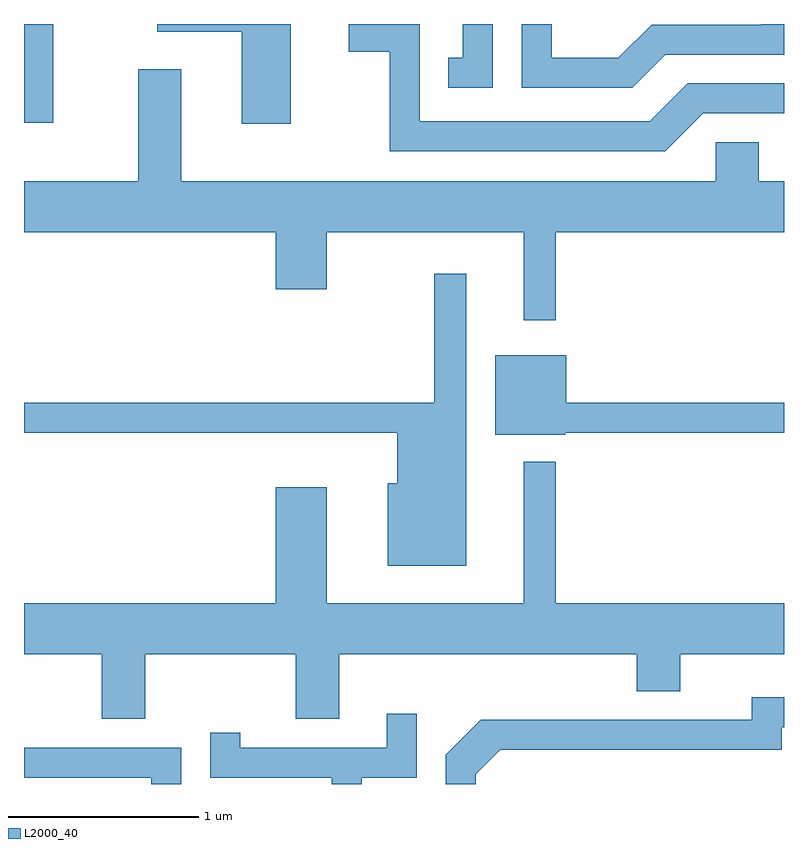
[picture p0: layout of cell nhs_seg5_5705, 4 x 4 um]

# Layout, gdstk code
import gdstk
lib = gdstk.Library(unit=1e-6, precision=1e-09)
def R(c, l, rs):  # rectangles x0, y0, x1, y1
    for r in rs: c.add(gdstk.rectangle(r[:2], r[2:], *l))
def P(c, l, *ps):  # polygons
    for p in ps: c.add(gdstk.Polygon(p, *l))
L2000_40 = (2000, 40)

nhs_seg5_5705 = lib.new_cell('nhs_seg5_5705')
R(nhs_seg5_5705, L2000_40, [(353.611,1499.553,353.764,1500.072)])
P(nhs_seg5_5705, L2000_40, [(357.187,1499.601),(357.611,1499.601),(357.611,1499.759),(357.104,1499.759),(356.904,1499.559),(355.694,1499.559),(355.694,1500.072),(355.321,1500.072),(355.321,1499.926),(355.536,1499.926),(355.536,1499.401),(356.987,1499.401)],
  [(356.987,1499.911),(357.611,1499.911),(357.611,1500.072),(357.491,1500.072),(357.491,1500.069),(356.914,1500.069),(356.739,1499.894),(356.389,1499.894),(356.389,1500.072),(356.231,1500.072),(356.231,1499.736),(356.812,1499.736)],
  [(356.079,1500.072),(355.921,1500.072),(355.921,1499.894),(355.843,1499.894),(355.843,1499.736),(356.079,1499.736)],
  [(355.014,1500.072),(354.313,1500.072),(354.313,1500.031),(354.756,1500.031),(354.756,1499.546),(355.014,1499.546)],
  [(356.409,1498.976),(357.611,1498.976),(357.611,1499.244),(357.479,1499.244),(357.479,1499.449),(357.251,1499.449),(357.251,1499.244),(354.439,1499.244),(354.439,1499.834),(354.211,1499.834),(354.211,1499.244),(353.611,1499.244),(353.611,1498.976),(354.936,1498.976),(354.936,1498.676),(355.204,1498.676),(355.204,1498.976),(356.241,1498.976),(356.241,1498.513),(356.409,1498.513)],
  [(355.939,1498.758),(355.771,1498.758),(355.771,1498.079),(353.611,1498.079),(353.611,1497.921),(355.576,1497.921),(355.576,1497.654),(355.526,1497.654),(355.526,1497.221),(355.939,1497.221)],
  [(356.46,1497.921),(357.611,1497.921),(357.611,1498.079),(356.464,1498.079),(356.464,1498.329),(356.091,1498.329),(356.091,1497.911),(356.46,1497.911)],
  [(354.249,1496.756),(355.041,1496.756),(355.041,1496.416),(355.269,1496.416),(355.269,1496.756),(356.836,1496.756),(356.836,1496.561),(357.064,1496.561),(357.064,1496.756),(357.611,1496.756),(357.611,1497.024),(356.409,1497.024),(356.409,1497.768),(356.241,1497.768),(356.241,1497.024),(355.204,1497.024),(355.204,1497.634),(354.936,1497.634),(354.936,1497.024),(353.611,1497.024),(353.611,1496.756),(354.021,1496.756),(354.021,1496.416),(354.249,1496.416)],
  [(355.989,1496.124),(356.117,1496.251),(357.599,1496.251),(357.599,1496.371),(357.611,1496.371),(357.611,1496.529),(357.441,1496.529),(357.441,1496.409),(356.014,1496.409),(355.831,1496.227),(355.831,1496.072),(355.989,1496.072)],
  [(355.389,1496.106),(355.679,1496.106),(355.679,1496.443),(355.521,1496.443),(355.521,1496.264),(354.749,1496.264),(354.749,1496.343),(354.591,1496.343),(354.591,1496.106),(355.231,1496.106),(355.231,1496.072),(355.389,1496.072)],
  [(354.439,1496.264),(353.611,1496.264),(353.611,1496.106),(354.281,1496.106),(354.281,1496.072),(354.439,1496.072)])

lib.write_gds('nhs_seg5_5705.gds')
